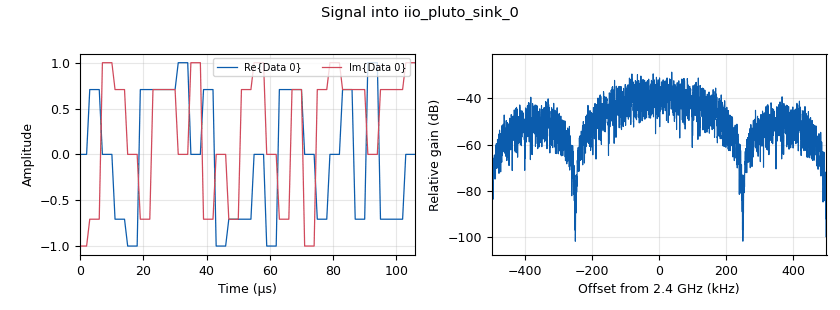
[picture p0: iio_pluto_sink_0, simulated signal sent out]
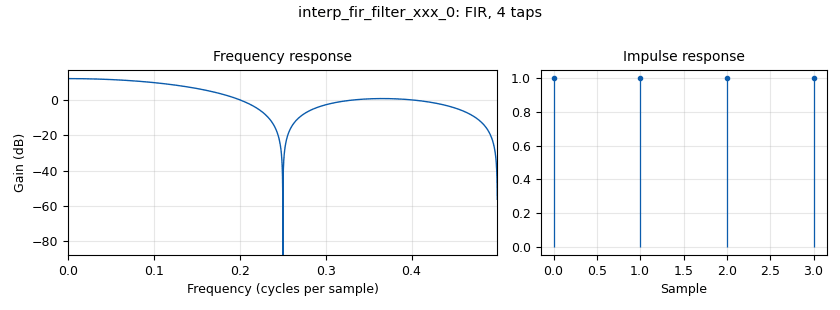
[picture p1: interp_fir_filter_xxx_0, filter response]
options:
  parameters:
    author: Jose Sanchez
    generate_options: no_gui
    id: N_PSK_TX
    output_language: python
    title: N PSK transmitter
  states: {}

blocks:
- name: M
  id: variable
  parameters:
    value: '8'
  states: {}
- name: bitsPerSymbol
  id: variable
  parameters:
    value: int(math.log(M,2))
  states: {}
- name: freq
  id: variable
  parameters:
    value: 2.4e9
  states: {}
- name: samplingRate
  id: variable
  parameters:
    value: '1000000'
  states: {}
- name: taps
  id: variable
  parameters:
    value: (1,1,1,1)
  states: {}
- name: analog_const_source_x_0
  id: analog_const_source_x
  parameters:
    const: '1'
    type: float
  states: {}
- name: analog_random_source_x_0
  id: analog_random_source_x
  parameters:
    max: '2'
    min: '0'
    num_samps: '1000'
    repeat: 'True'
    type: byte
  states: {}
- name: blocks_char_to_float_1
  id: blocks_char_to_float
  parameters:
    scale: '1'
  states: {}
- name: blocks_multiply_const_vxx_0
  id: blocks_multiply_const_vxx
  parameters:
    const: 2*math.pi/M
    type: float
  states: {}
- name: blocks_repack_bits_bb_0
  id: blocks_repack_bits_bb
  parameters:
    endianness: gr.GR_LSB_FIRST
    k: '1'
    l: bitsPerSymbol
  states: {}
- name: epy_block_0
  id: epy_block
  parameters:
    _source_code: |
      """
      Embedded Python Blocks:

      Each time this file is saved, GRC will instantiate the first class it finds
      to get ports and parameters of your block. The arguments to __init__  will
      be the parameters. All of them are required to have default values!
      """

      import numpy as np
      from gnuradio import gr


      class blk(gr.sync_block):  # other base classes are basic_block, decim_block, interp_block
          """Embedded Python Block example - a simple multiply const"""

          def __init__(self, example_param=1.0):  # only default arguments here
              """arguments to this function show up as parameters in GRC"""
              gr.sync_block.__init__(
                  self,
                  name='VCO Complex',   # will show up in GRC
                  in_sig=[np.float32,np.float32],
                  out_sig=[np.complex64]
              )
              # if an attribute with the same name as a parameter is found,
              # a callback is registered (properties work, too).
              self.example_param = example_param

          def work(self, input_items, output_items):
              """example: multiply with constant"""
              Q = input_items[0]
              A = input_items[1]
              Sec = output_items[0]
              Sec[:] = A*np.exp(1.j*Q)
              return len(Sec)
    example_param: '1.0'
  states: {}
- name: iio_pluto_sink_0
  id: iio_pluto_sink
  parameters:
    attenuation1: '10.0'
    bandwidth: '20000000'
    buffer_size: '32768'
    cyclic: 'False'
    filter_source: '''Auto'''
    frequency: '2400000000'
    samplerate: int(samplingRate)
    type: fc32
    uri: ip:192.168.2.1
  states: {}
- name: import_0
  id: import
  parameters:
    imports: import math
  states: {}
- name: interp_fir_filter_xxx_0
  id: interp_fir_filter_xxx
  parameters:
    interp: len(taps)
    taps: taps
    type: ccc
  states: {}

connections:
- [analog_const_source_x_0, '0', epy_block_0, '1']
- [analog_random_source_x_0, '0', blocks_repack_bits_bb_0, '0']
- [blocks_char_to_float_1, '0', blocks_multiply_const_vxx_0, '0']
- [blocks_multiply_const_vxx_0, '0', epy_block_0, '0']
- [blocks_repack_bits_bb_0, '0', blocks_char_to_float_1, '0']
- [epy_block_0, '0', interp_fir_filter_xxx_0, '0']
- [interp_fir_filter_xxx_0, '0', iio_pluto_sink_0, '0']

metadata:
  file_format: 1
  grc_version: 3.10.6.0
